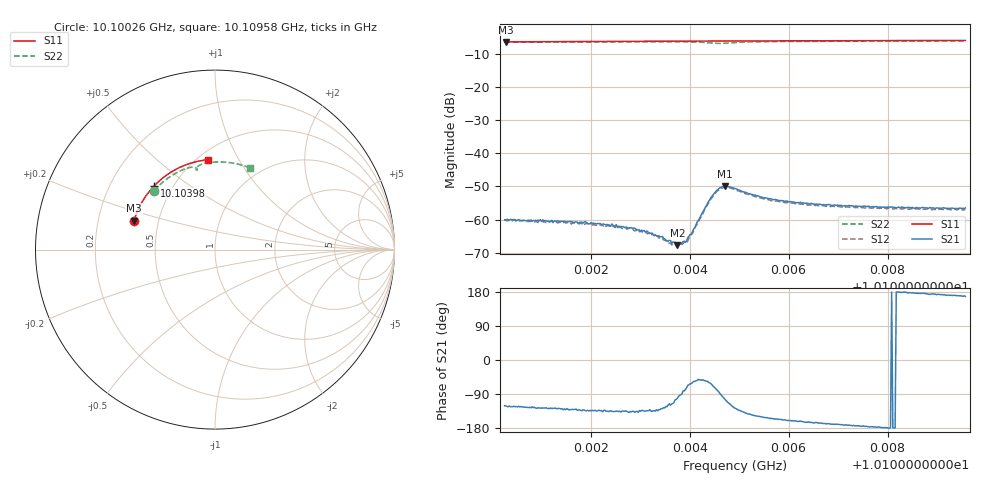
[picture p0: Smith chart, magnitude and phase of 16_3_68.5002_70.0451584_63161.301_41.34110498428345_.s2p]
#  HZ  S  RI  R  50.00
! Rohde & Schwarz Vector Network Analyzer
! Rohde-Schwarz,ZNB20-2Port,1311601062101988,3.16
! Created: UTC 3/20/2024, 5:04:23 PM
! freq[Hz]  re:S11  im:S11  re:S21  im:S21  re:S12  im:S12  re:S22  im:S22
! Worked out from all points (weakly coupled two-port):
!   401 points, 10.10026 GHz to 10.10958 GHz, reference 50 ohm
!   highest |S21| = -49.89 dB at 10.10471 GHz (marker M1); lowest = -67.7 dB at 10.10375 GHz (marker M2)
!   lowest |S11| = -6.4 dB at 10.10028 GHz (marker M3), VSWR 2.84, Z = 18.1 + j7.59 ohm
!   |S11| at or under -10 dB: nowhere
!   |S22| runs from -6.9 to -6.1 dB; largest |S21 - S12| = 0.00034
!   S11 on the Smith chart (normalised r, x): 10.10026 GHz: 0.36, +0.15; 10.10398 GHz: 0.40, +0.37; 10.10958 GHz: 0.56, +0.75
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1.0100256e10  -0.4515 0.1605  -0.000508 -0.000853  -0.000437 -0.000855  -0.3393 0.3276
1.010028e10  -0.4511 0.1619  -0.000507 -0.000845  -0.000454 -0.000878  -0.3384 0.3289
1.0101817e10  -0.4158 0.2486  -0.000636 -0.000658  -0.000549 -0.000673  -0.2652 0.3959
1.010247e10  -0.3958 0.2826  -0.000566 -0.000545  -0.00052 -0.000608  -0.2298 0.4197
1.0102796e10  -0.3848 0.2992  -0.000543 -0.000524  -0.000506 -0.000541  -0.2109 0.4303
1.0103099e10  -0.3739 0.3142  -0.000462 -0.000462  -0.000417 -0.000475  -0.1928 0.4391
1.0103378e10  -0.3634 0.3273  -0.000367 -0.000431  -0.0003 -0.000432  -0.1751 0.447
1.0103611e10  -0.3542 0.3381  -0.000241 -0.000431  -0.000184 -0.000407  -0.1597 0.4524
1.0103751e10  -0.3488 0.3445  -7.89e-05 -0.000404  -5.39e-05 -0.000395  -0.15 0.4554
1.0103891e10  -0.3429 0.3508  6.9e-05 -0.000465  0.000115 -0.000459  -0.14 0.4576
1.0103984e10  -0.3392 0.3549  0.000236 -0.000507  0.00026 -0.00046  -0.1327 0.4586
1.0104077e10  -0.3353 0.359  0.000391 -0.000596  0.000401 -0.000537  -0.1254 0.459
1.0104333e10  -0.324 0.3699  0.000896 -0.00133  0.000985 -0.00121  -0.1055 0.4546
1.0104473e10  -0.3178 0.3756  0.000857 -0.00222  0.00102 -0.00202  -0.0991 0.4472
1.010459e10  -0.3127 0.3804  0.000272 -0.00291  0.000467 -0.00278  -0.1006 0.442
1.0104706e10  -0.3075 0.3849  -0.000717 -0.00312  -0.000417 -0.00304  -0.1044 0.4438
1.0104916e10  -0.2978 0.3932  -0.00179 -0.00234  -0.00148 -0.00242  -0.1017 0.4571
1.0105195e10  -0.2846 0.4038  -0.00195 -0.0015  -0.00177 -0.0016  -0.0846 0.4707
1.0105638e10  -0.2628 0.4196  -0.00187 -0.000882  -0.00166 -0.000988  -0.054 0.4809
1.0106477e10  -0.2196 0.4461  -0.00168 -0.000448  -0.00157 -0.000596  0.00195 0.488
1.0108038e10  -0.1326 0.4823  -0.00155 -2.9e-06  -0.0015 -0.000166  0.1027 0.4814
1.0109575e10  -0.0417 0.5011  -0.00147 0.000321  -0.00141 0.000112  0.1968 0.4543
